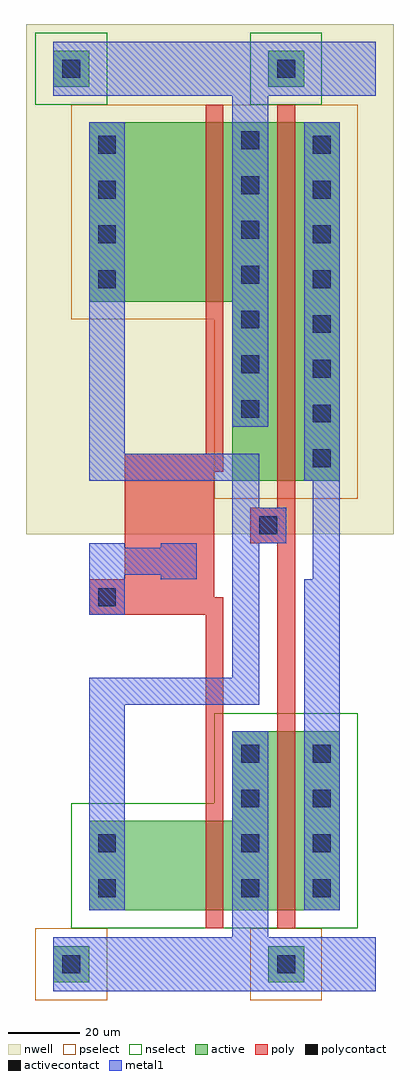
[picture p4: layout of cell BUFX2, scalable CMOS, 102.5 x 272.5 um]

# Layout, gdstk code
import gdstk
lib = gdstk.Library(unit=1e-6, precision=1e-09)
def R(c, l, rs):  # rectangles x0, y0, x1, y1
    for r in rs: c.add(gdstk.rectangle(r[:2], r[2:], *l))
def A(c, l, x, y, w, h, nx, ny, dx, dy):  # array of equal rectangles
    R(c, l, [(x+i*dx, y+j*dy, x+i*dx+w, y+j*dy+h) for i in range(nx) for j in range(ny)])
nwell = (42, 0)
active = (43, 0)
pselect = (44, 0)
nselect = (45, 0)
poly = (46, 0)
polycontact = (47, 0)
activecontact = (48, 0)
metal1 = (49, 0)

bufx2 = lib.new_cell('BUFX2')
R(bufx2, nwell, [(-12.5,120,90,262.5)])
R(bufx2, active, [(-5,-5,5,5), (55,-5,65,5), (5,15,75,40), (45,40,75,65), (45,135,75,185), (5,185,75,235), (-5,245,5,255), (55,245,65,255)])
R(bufx2, pselect, [(-10,-10,10,10), (50,-10,70,10), (40,130,80,180), (0,180,80,240)])
R(bufx2, nselect, [(0,10,80,45), (40,45,80,70), (-10,240,10,260), (50,240,70,260)])
R(bufx2, poly, [(37.5,10,42.5,97.5), (57.5,10,62.5,117.5), (5,97.5,42.5,102.5), (5,102.5,40,107.5), (15,107.5,40,137.5), (50,117.5,62.5,127.5), (57.5,127.5,62.5,240), (15,137.5,42.5,142.5), (37.5,142.5,42.5,240)])
R(bufx2, polycontact, [(7.5,100,12.5,105), (52.5,120,57.5,125)])
A(bufx2, activecontact, 47.5, 18.75, 5, 5, 1, 4, 0, 12.5)
A(bufx2, activecontact, 67.5, 18.75, 5, 5, 1, 4, 0, 12.5)
A(bufx2, activecontact, 67.5, 138.75, 5, 5, 1, 8, 0, 12.5)
A(bufx2, activecontact, 47.5, 152.5, 5, 5, 1, 7, 0, 12.5)
A(bufx2, activecontact, 7.5, 188.75, 5, 5, 1, 4, 0, 12.5)
R(bufx2, activecontact, [(-2.5,-2.5,2.5,2.5), (57.5,-2.5,62.5,2.5), (7.5,18.75,12.5,23.75), (7.5,31.25,12.5,36.25), (-2.5,247.5,2.5,252.5), (57.5,247.5,62.5,252.5)])
R(bufx2, metal1, [(-5,-7.5,85,7.5), (45,7.5,55,65), (5,15,15,72.5), (65,15,75,107.5), (5,72.5,52.5,80), (45,80,52.5,117.5), (5,97.5,15,117.5), (25,107.5,35,117.5), (67.5,107.5,75,135), (6.25,108.75,33.75,116.25), (45,117.5,60,127.5), (45,127.5,52.5,135), (5,135,52.5,142.5), (65,135,75,235), (5,142.5,15,235), (45,150,55,242.5), (-5,242.5,85,257.5)])

lib.write_gds('BUFX2.gds')
